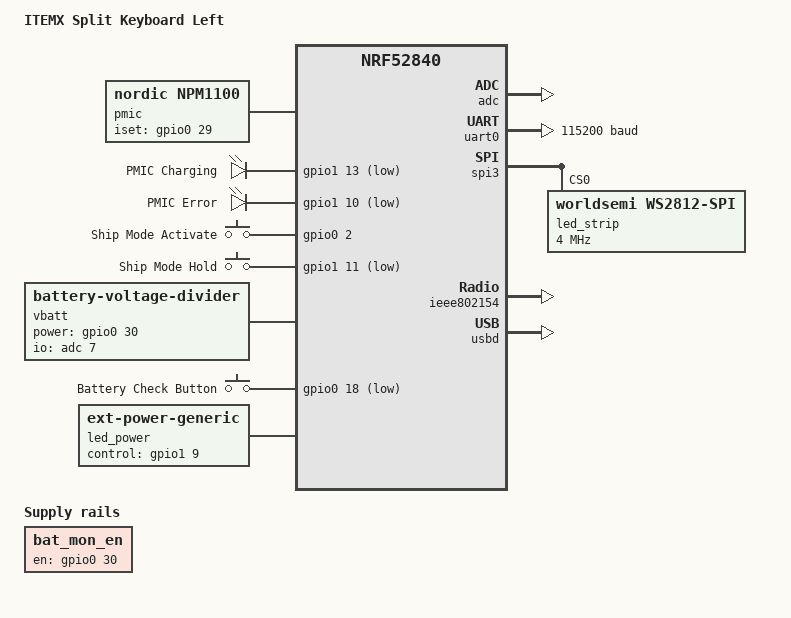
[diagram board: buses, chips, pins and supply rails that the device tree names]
/*
 * SPDX-License-Identifier: Apache-2.0
 *
 * ITEMX — Split ergonomic keyboard, left half (master)
 * MCU: nRF52840-QIAA
 * PMIC: nPM1100
 */

/dts-v1/;
#include <nordic/nrf52840_qiaa.dtsi>
#include "itemx_nrf52840-pinctrl.dtsi"
#include <zephyr/dt-bindings/regulator/npm1100.h>
#include <zephyr/dt-bindings/led/led.h>

/ {
	model = "ITEMX Split Keyboard Left";
	compatible = "itemx,nrf52840";

	chosen {
		zephyr,console = &uart0;
		zephyr,shell-uart = &uart0;
		zephyr,bt-mon-uart = &uart0;
		zephyr,bt-c2h-uart = &uart0;
		zephyr,sram = &sram0;
		zephyr,flash = &flash0;
		zephyr,ieee802154 = &ieee802154;
		zmk,underglow = &led_strip;
		zmk,battery = &vbatt;
	};

	pmic: pmic {
		compatible = "nordic,npm1100";

		nordic,iset-gpios = <&gpio0 29 GPIO_ACTIVE_HIGH>;

		BUCK {
			regulator-initial-mode = <NPM1100_MODE_PWM>;
			nordic,mode-gpios = <&gpio1 15 GPIO_ACTIVE_HIGH>;
		};
	};

	pmic_status {
		compatible = "gpio-leds";

		pmic_chg: chg {
			gpios = <&gpio1 13 (GPIO_ACTIVE_LOW | GPIO_PULL_UP)>;
			label = "PMIC Charging";
		};

		pmic_err: err {
			gpios = <&gpio1 10 (GPIO_ACTIVE_LOW | GPIO_PULL_UP)>;
			label = "PMIC Error";
		};
	};

	pmic_ship {
		compatible = "gpio-keys";

		shpact: shpact {
			gpios = <&gpio0 2 GPIO_ACTIVE_HIGH>;
			label = "Ship Mode Activate";
		};

		shphld: shphld {
			gpios = <&gpio1 11 (GPIO_ACTIVE_LOW | GPIO_PULL_UP)>;
			label = "Ship Mode Hold";
		};
	};

	bat_mon_en: bat_mon_en {
		compatible = "regulator-fixed";
		regulator-name = "BAT_MON_EN";
		enable-gpios = <&gpio0 30 GPIO_ACTIVE_HIGH>;
	};

	vbatt: vbatt {
		compatible = "zmk,battery-voltage-divider";
		io-channels = <&adc 7>;
		output-ohms  = <220000>;
		full-ohms    = <1730000>;
		power-gpios = <&gpio0 30 GPIO_ACTIVE_HIGH>;
	};

	battery_check {
		compatible = "gpio-keys";

		battery_check_btn: battery_check_btn {
			/* P0.18 / nRESET net, reused as a plain input.
			 * CONFIG_GPIO_AS_PINRESET is never set in this project,
			 * so UICR PSELRESET stays unconfigured and this pin behaves
			 * as a normal GPIO (SWD/OpenOCD reset uses AIRCR, not this pin).
			 * External 100k pull-up per hardware design; button pulls low.
			 */
			gpios = <&gpio0 18 GPIO_ACTIVE_LOW>;
			label = "Battery Check Button";
		};
	};

	led_power: led_power {
		compatible = "zmk,ext-power-generic";
		init-delay-ms = <10>;
		control-gpios = <&gpio1 9 GPIO_ACTIVE_HIGH>;
	};

	behaviors {
		hw_soft_off: hw_soft_off {
			compatible = "zmk,behavior-soft-off";
			#binding-cells = <0>;
			hold-time-ms = <1000>;
		};

		/* Internal split-RPC endpoint used by the central to forward its
		 * BLE host-connection state to the peripheral. Never bound in the
		 * keymap; invoked by name ("BLEHOST") from ble_status_led.c. */
		ble_host_status: ble_host_status {
			compatible = "zmk,behavior-host-status";
			#binding-cells = <0>;
			label = "BLEHOST";
		};
	};

	soft_off_direct_kscan: soft_off_direct_kscan {
		compatible = "zmk,kscan-gpio-direct";
		input-keys = <&shphld>;
		debounce-press-ms = <100>;
		debounce-release-ms = <100>;
		wakeup-source;
	};

	soft_off_sideband_behaviors {
		compatible = "zmk,kscan-sideband-behaviors";
		kscan = <&soft_off_direct_kscan>;
		auto-enable;
		wakeup-source;

		soft_off {
			row = <0>;
			column = <0>;
			bindings = <&hw_soft_off>;
		};
	};

	soft_off_wakers {
		compatible = "zmk,soft-off-wakeup-sources";
		status = "okay";
		wakeup-sources = <&soft_off_direct_kscan>;
	};

	aliases {
		led-strip = &led_strip;
		sw0 = &shpact;
		watchdog0 = &wdt0;
	};
};

&adc {
	status = "okay";
};

&uart0 {
	compatible = "nordic,nrf-uarte";
	status = "okay";
	current-speed = <115200>;
	pinctrl-0 = <&uart0_default>;
	pinctrl-1 = <&uart0_sleep>;
	pinctrl-names = "default", "sleep";
};

&spi3 {
	compatible = "nordic,nrf-spim";
	status = "okay";
	pinctrl-0 = <&spi3_default>;
	pinctrl-1 = <&spi3_sleep>;
	pinctrl-names = "default", "sleep";

	led_strip: ws2812@0 {
		compatible = "worldsemi,ws2812-spi";
		reg = <0>;
		spi-max-frequency = <4000000>;
		chain-length = <4>;
		color-mapping = <LED_COLOR_ID_GREEN LED_COLOR_ID_RED LED_COLOR_ID_BLUE>;
		spi-one-frame = <0x70>;
		spi-zero-frame = <0x40>;
	};
};

&gpiote {
	status = "okay";
};

&gpio0 {
	status = "okay";
};

&gpio1 {
	status = "okay";
};

&flash0 {
	partitions {
		compatible = "fixed-partitions";
		#address-cells = <1>;
		#size-cells = <1>;

		storage_partition: partition@f8000 {
			label = "storage";
			reg = <0x000f8000 0x00008000>;
		};
	};
};

&ieee802154 {
	status = "okay";
};

zephyr_udc0: &usbd {
	compatible = "nordic,nrf-usbd";
	status = "okay";
};
